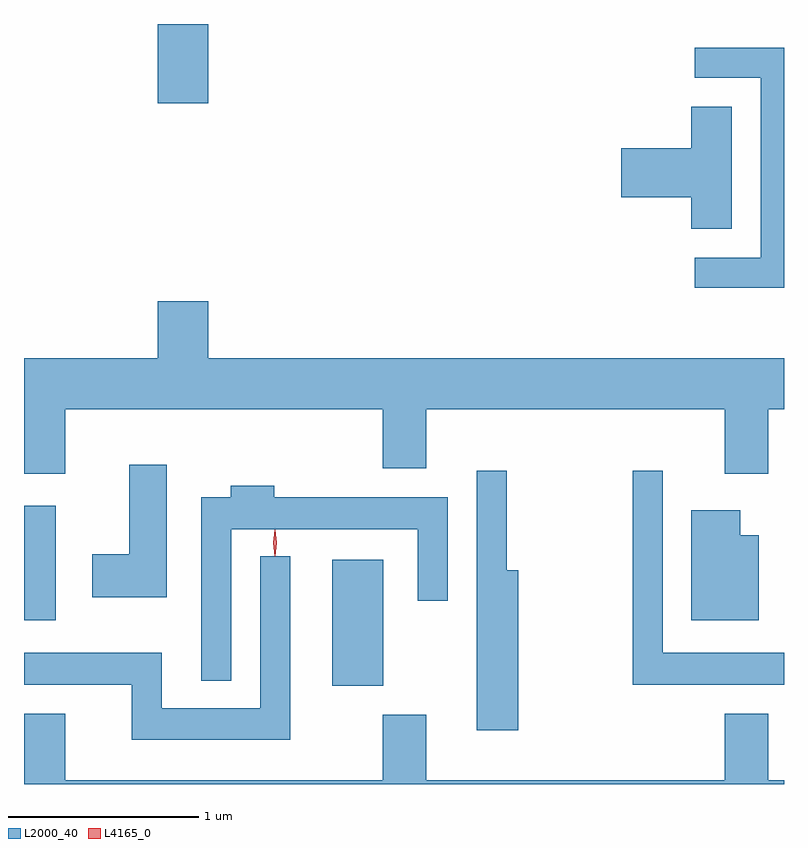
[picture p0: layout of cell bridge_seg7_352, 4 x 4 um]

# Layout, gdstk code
import gdstk
lib = gdstk.Library(unit=1e-6, precision=1e-09)
def R(c, l, rs):  # rectangles x0, y0, x1, y1
    for r in rs: c.add(gdstk.rectangle(r[:2], r[2:], *l))
def P(c, l, *ps):  # polygons
    for p in ps: c.add(gdstk.Polygon(p, *l))
L2000_40 = (2000, 40)
L4165_0 = (4165, 0)

bridge_seg7_352 = lib.new_cell('bridge_seg7_352')
R(bridge_seg7_352, L2000_40, [(1175.036,1759.481,1175.304,1760.144), (1173.413,1759.826,1173.579,1760.429), (1174.116,1762.546,1174.384,1762.964)])
P(bridge_seg7_352, L2000_40, [(1177.413,1762.839),(1176.943,1762.839),(1176.943,1762.681),(1177.291,1762.681),(1177.291,1761.734),(1176.943,1761.734),(1176.943,1761.576),(1177.413,1761.576)],
  [(1177.139,1762.529),(1176.926,1762.529),(1176.926,1762.309),(1176.556,1762.309),(1176.556,1762.051),(1176.926,1762.051),(1176.926,1761.886),(1177.139,1761.886)],
  [(1173.629,1760.936),(1175.301,1760.936),(1175.301,1760.626),(1175.529,1760.626),(1175.529,1760.936),(1177.101,1760.936),(1177.101,1760.596),(1177.329,1760.596),(1177.329,1760.936),(1177.413,1760.936),(1177.413,1761.204),(1174.384,1761.204),(1174.384,1761.504),(1174.116,1761.504),(1174.116,1761.204),(1173.413,1761.204),(1173.413,1760.596),(1173.629,1760.596)],
  [(1174.164,1760.644),(1173.966,1760.644),(1173.966,1760.174),(1173.771,1760.174),(1173.771,1759.946),(1174.164,1759.946)],
  [(1177.413,1759.654),(1176.774,1759.654),(1176.774,1760.613),(1176.616,1760.613),(1176.616,1759.486),(1177.413,1759.486)],
  [(1176.014,1760.089),(1175.954,1760.089),(1175.954,1760.613),(1175.796,1760.613),(1175.796,1759.246),(1176.014,1759.246)],
  [(1174.504,1760.306),(1175.486,1760.306),(1175.486,1759.928),(1175.644,1759.928),(1175.644,1760.474),(1174.729,1760.474),(1174.729,1760.534),(1174.501,1760.534),(1174.501,1760.474),(1174.346,1760.474),(1174.346,1759.508),(1174.504,1759.508)],
  [(1177.279,1760.274),(1177.184,1760.274),(1177.184,1760.404),(1176.926,1760.404),(1176.926,1759.826),(1177.279,1759.826)],
  [(1174.814,1760.163),(1174.656,1760.163),(1174.656,1759.364),(1174.139,1759.364),(1174.139,1759.654),(1173.413,1759.654),(1173.413,1759.486),(1173.981,1759.486),(1173.981,1759.196),(1174.814,1759.196)],
  [(1177.413,1758.984),(1177.329,1758.984),(1177.329,1759.334),(1177.101,1759.334),(1177.101,1758.984),(1175.529,1758.984),(1175.529,1759.329),(1175.301,1759.329),(1175.301,1758.984),(1173.629,1758.984),(1173.629,1759.334),(1173.413,1759.334),(1173.413,1758.964),(1177.413,1758.964)])
P(bridge_seg7_352, L4165_0, [(1174.734,1760.164),(1174.734,1760.164),(1174.724,1760.233),(1174.734,1760.302),(1174.734,1760.303),(1174.735,1760.302),(1174.744,1760.233),(1174.735,1760.164)],
  [(1174.734,1760.167),(1174.734,1760.167),(1174.724,1760.234),(1174.734,1760.3),(1174.734,1760.3),(1174.734,1760.3),(1174.744,1760.234),(1174.735,1760.167)])

lib.write_gds('bridge_seg7_352.gds')
